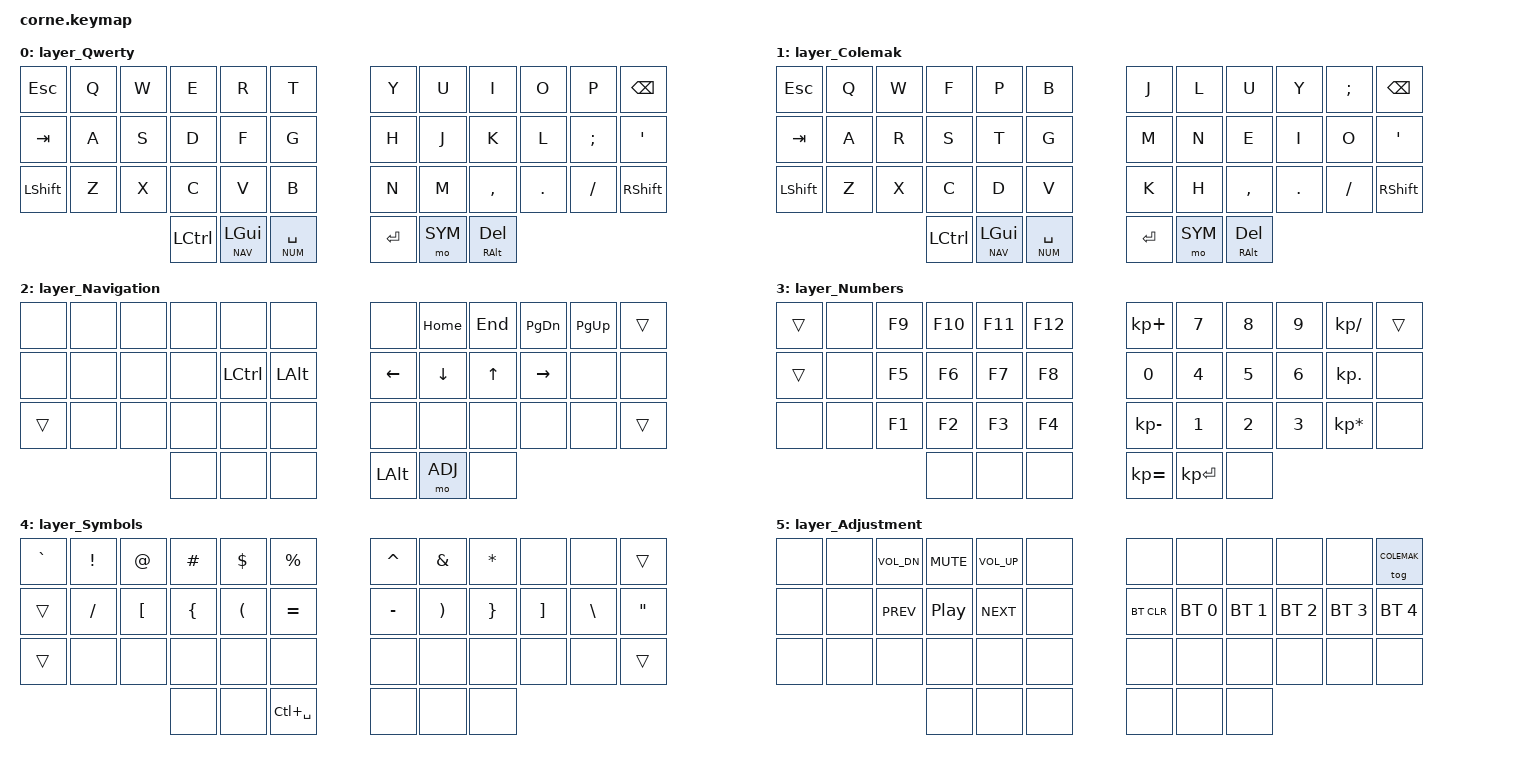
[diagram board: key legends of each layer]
/*
 * Copyright (c) 2020 The ZMK Contributors
 *
 * SPDX-License-Identifier: MIT
 */

#include <behaviors.dtsi>
#include <dt-bindings/zmk/keys.h>
#include <dt-bindings/zmk/bt.h>

#define QWERTY  0
#define COLEMAK 1
#define NAV     2
#define NUM     3
#define SYM     4
#define ADJ     5

#define ALPHAS  QWERTY COLEMAK

&caps_word {
        continue-list = <UNDERSCORE MINUS BSPC DEL N1 N2 N3 N4 N5 N6 N7 N8 N9 N0>;
};

/ {
        combos {
    	        compatible = "zmk,combos";

                combo_capsword {
                        timeout-ms = <150>;
                        key-positions = <24 35>;
                        bindings = <&caps_word>;
                        layers = <ALPHAS>;
                };
        };

        keymap {
                compatible = "zmk,keymap";

                layer_Qwerty {
                        bindings = <
   &kp ESC   &kp Q &kp W &kp E &kp R &kp T      &kp Y &kp U  &kp I     &kp O   &kp P    &kp BSPC
   &kp TAB   &kp A &kp S &kp D &kp F &kp G      &kp H &kp J  &kp K     &kp L   &kp SEMI &kp SQT
   &kp LSHFT &kp Z &kp X &kp C &kp V &kp B      &kp N &kp M &kp COMMA  &kp DOT &kp FSLH &kp RSHFT
      &kp LCTRL &lt NAV LGUI &lt NUM SPACE      &kp ENTER &mo SYM &mt RALT DEL 
                        >;
                };

                layer_Colemak {
                        bindings = <
   &kp ESC   &kp Q &kp W &kp F &kp P &kp B      &kp J &kp L  &kp U     &kp Y   &kp SEMI &kp BSPC
   &kp TAB   &kp A &kp R &kp S &kp T &kp G      &kp M &kp N  &kp E     &kp I   &kp O    &kp SQT
   &kp LSHFT &kp Z &kp X &kp C &kp D &kp V      &kp K &kp H &kp COMMA  &kp DOT &kp FSLH &kp RSHFT
      &kp LCTRL &lt NAV LGUI &lt NUM SPACE      &kp ENTER &mo SYM &mt RALT DEL 
                        >;
                };

                layer_Navigation {
                        bindings = <
   &none  &none &none &none &none     &none         &none    &kp HOME &kp END &kp PG_DN &kp PG_UP &trans
   &none  &none &none &none &kp LCTRL &kp LALT      &kp LEFT &kp DOWN &kp UP  &kp RIGHT &none     &none
   &trans &none &none &none &none     &none         &none    &none    &none   &none     &none     &trans
                             &none &none &none      &kp LALT &mo ADJ  &none
                        >;
                };

                layer_Numbers {
                        bindings = <
   &trans &none &kp F9 &kp F10 &kp F11 &kp F12      &kp KP_PLUS  &kp N7 &kp N8 &kp N9 &kp KP_SLASH    &trans
   &trans &none &kp F5 &kp F6  &kp F7  &kp F8       &kp N0       &kp N4 &kp N5 &kp N6 &kp KP_DOT      &none
   &none  &none &kp F1 &kp F2  &kp F3  &kp F4       &kp KP_MINUS &kp N1 &kp N2 &kp N3 &kp KP_ASTERISK &none
                             &none &none &none      &kp KP_EQUAL &kp KP_ENTER &none
                        >;
                };

                layer_Symbols {
                        bindings = <
   &kp GRAVE &kp EXCL  &kp AT   &kp HASH &kp DLLR &kp PRCNT      &kp CARET &kp AMPS &kp ASTRK &none    &none    &trans
   &trans    &kp SLASH &kp LBKT &kp LBRC &kp LPAR &kp EQUAL      &kp MINUS &kp RPAR &kp RBRC  &kp RBKT &kp BSLH &kp DQT
   &trans    &none     &none    &none    &none    &none          &none     &none    &none     &none    &none    &trans
                                  &none &none &kp LC(SPACE)      &none     &none    &none
                        >;
                };

                layer_Adjustment {
                        bindings = <
   &none &none &kp C_VOL_DN &kp C_MUTE &kp C_VOL_UP &none      &none      &none        &none        &none        &none        &tog COLEMAK 
   &none &none &kp C_PREV   &kp C_PP   &kp C_NEXT   &none      &bt BT_CLR &bt BT_SEL 0 &bt BT_SEL 1 &bt BT_SEL 2 &bt BT_SEL 3 &bt BT_SEL 4
   &none &none &none        &none      &none        &none      &none      &none        &none        &none        &none        &none
                                        &none &none &none      &none &none &none  
                        >;
                };
        };
};
